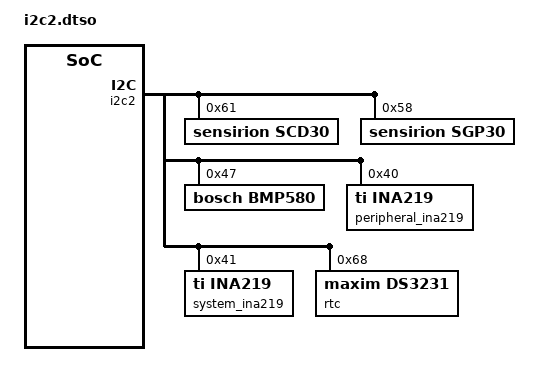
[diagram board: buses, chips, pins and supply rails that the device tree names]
/dts-v1/;
/plugin/;

&i2c2 {
    status = "okay";
    #address-cells = <1>;
    #size-cells = <0>;

    scd30@61 { compatible = "sensirion,scd30"; reg = <0x61>; };

    sgp30@58 { compatible = "sensirion,sgp30"; reg = <0x58>; };

    bmp580@47 { compatible = "bosch,bmp580";  reg = <0x47>; };

    peripheral_ina219: ina219-peripheral@40 { // Peripheral current monitor
        compatible = "ti,ina219";     
        reg = <0x40>; 
        shunt-resistor = <100000>; // (microohms) -> 0.1 Ohm
    };

    system_ina219: ina219-system@41 { // System current monitor
        compatible = "ti,ina219";
        reg = <0x41>; 
        shunt-resistor = <100000>; // (microohms) -> 0.1 Ohm
    };

    rtc@68 { 
        compatible = "maxim,ds3231";  
        reg = <0x68>; 
    };
};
